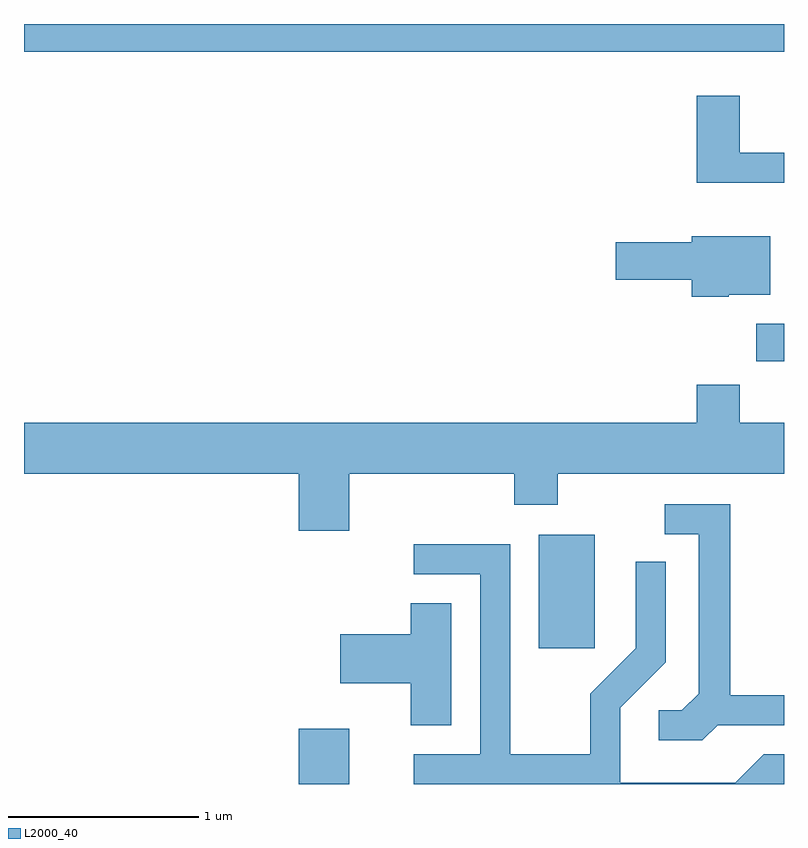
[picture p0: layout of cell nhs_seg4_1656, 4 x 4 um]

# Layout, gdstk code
import gdstk
lib = gdstk.Library(unit=1e-6, precision=1e-09)
def R(c, l, rs):  # rectangles x0, y0, x1, y1
    for r in rs: c.add(gdstk.rectangle(r[:2], r[2:], *l))
def P(c, l, *ps):  # polygons
    for p in ps: c.add(gdstk.Polygon(p, *l))
L2000_40 = (2000, 40)

nhs_seg4_1656 = lib.new_cell('nhs_seg4_1656')
R(nhs_seg4_1656, L2000_40, [(235.056,1301.982,235.324,1302.274), (236.321,1302.696,236.614,1303.294), (237.466,1304.206,237.611,1304.404), (233.611,1305.836,237.611,1305.982)])
P(nhs_seg4_1656, L2000_40, [(237.611,1305.304),(237.379,1305.304),(237.379,1305.604),(237.151,1305.604),(237.151,1305.146),(237.611,1305.146)],
  [(237.32,1304.556),(237.539,1304.556),(237.539,1304.864),(237.126,1304.864),(237.126,1304.834),(236.726,1304.834),(236.726,1304.636),(237.126,1304.636),(237.126,1304.546),(237.32,1304.546)],
  [(235.324,1303.616),(236.191,1303.616),(236.191,1303.451),(236.419,1303.451),(236.419,1303.616),(237.611,1303.616),(237.611,1303.884),(237.379,1303.884),(237.379,1304.084),(237.151,1304.084),(237.151,1303.884),(233.611,1303.884),(233.611,1303.616),(235.056,1303.616),(235.056,1303.316),(235.324,1303.316)],
  [(237.262,1302.291),(237.611,1302.291),(237.611,1302.449),(237.329,1302.449),(237.329,1303.454),(236.983,1303.454),(236.983,1303.296),(237.161,1303.296),(237.161,1302.457),(237.074,1302.369),(236.953,1302.369),(236.953,1302.211),(237.182,1302.211)],
  [(237.611,1302.139),(237.504,1302.139),(237.354,1301.989),(236.749,1301.989),(236.749,1302.384),(236.989,1302.624),(236.989,1303.153),(236.831,1303.153),(236.831,1302.697),(236.591,1302.457),(236.591,1302.139),(236.169,1302.139),(236.169,1303.244),(235.663,1303.244),(235.663,1303.086),(236.011,1303.086),(236.011,1302.139),(235.663,1302.139),(235.663,1301.982),(237.611,1301.982)],
  [(235.859,1302.934),(235.646,1302.934),(235.646,1302.769),(235.276,1302.769),(235.276,1302.511),(235.646,1302.511),(235.646,1302.291),(235.859,1302.291)])

lib.write_gds('nhs_seg4_1656.gds')
